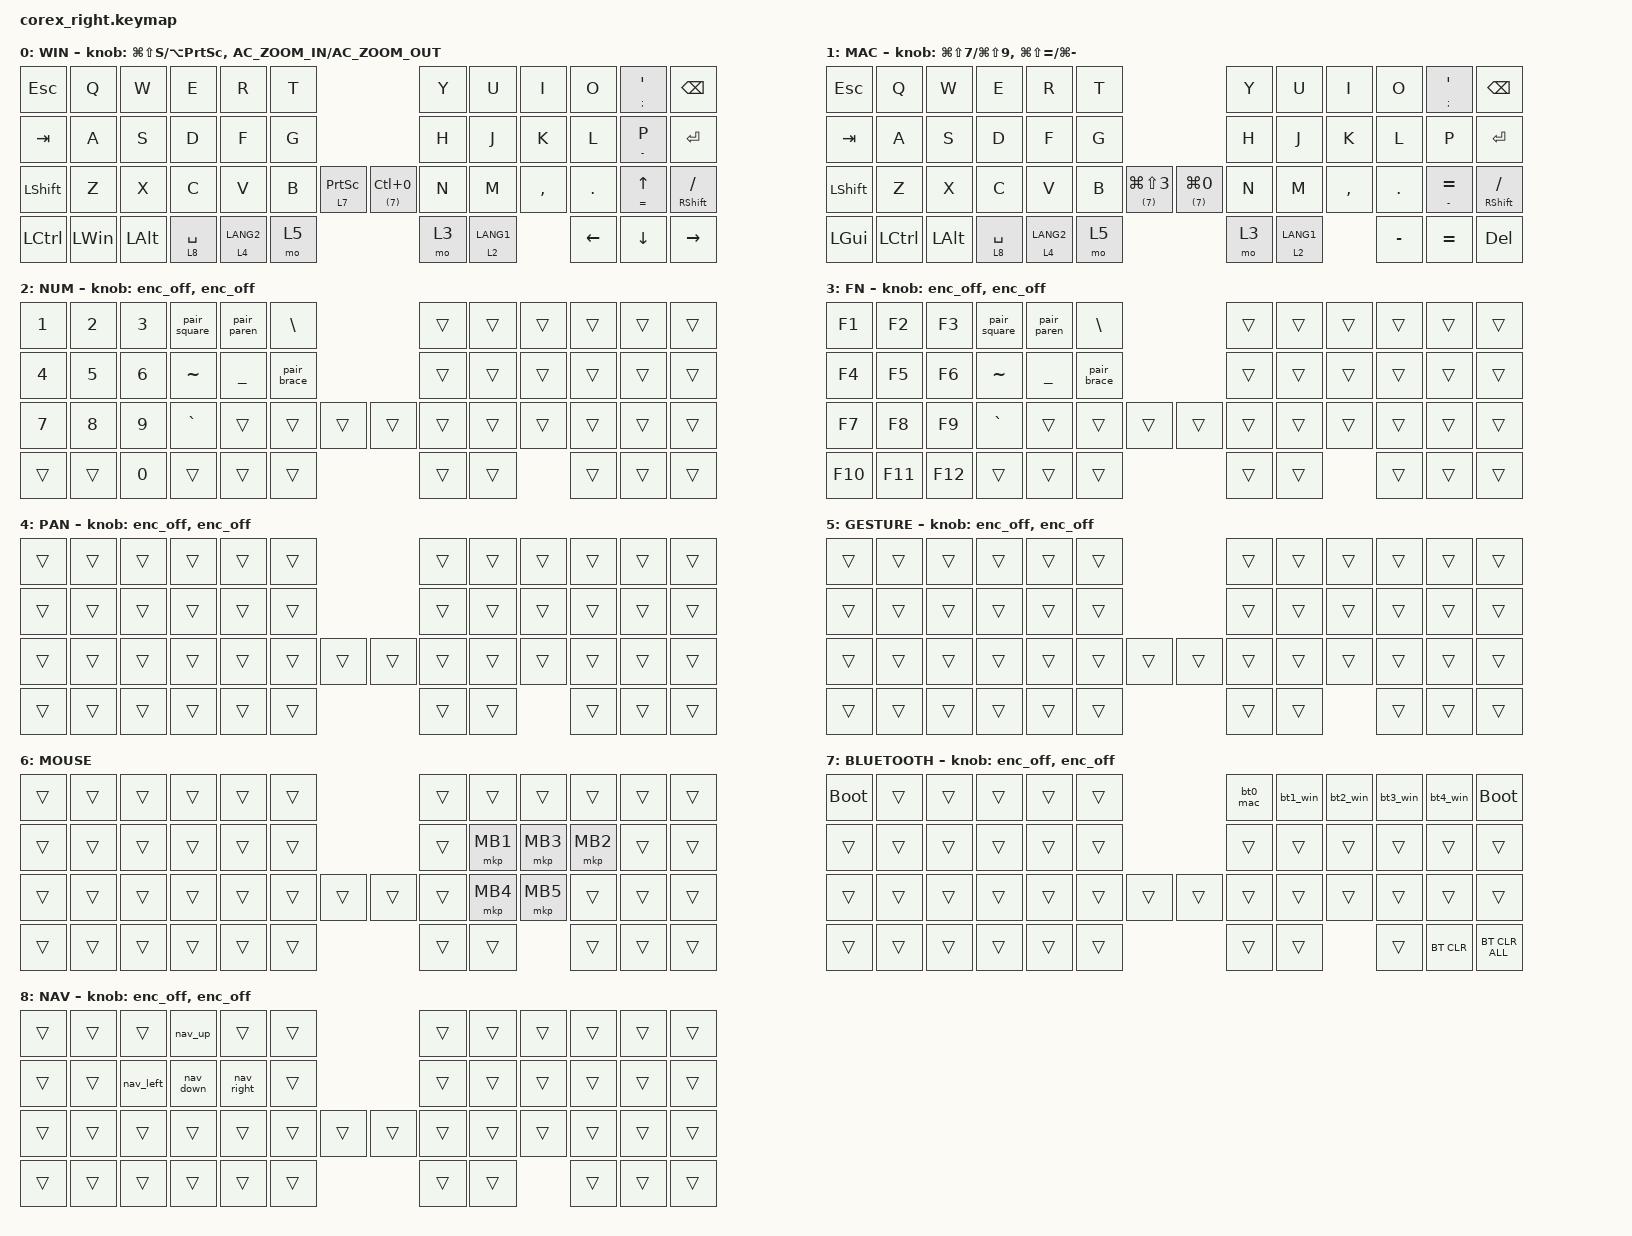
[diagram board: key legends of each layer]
/* CoreX NUM/FN adaptation of Hqzuki/zmk-config-coron, LowprofileTrackBallcase.
 * 49 positions: dedicated arrow keys removed, BT-layer/screenshot on inner
 * switches, three spare bottom-right keys disabled in WIN/MAC.
 * LED and CoreX hardware configuration are independent of this keymap.
 */

#include <dt-bindings/zmk/input_transform.h>
#include <input/processors.dtsi>
#include <mouse-gesture.dtsi>
#include <behaviors.dtsi>
#include <dt-bindings/zmk/bt.h>
#include <dt-bindings/zmk/keys.h>
#include <dt-bindings/zmk/pointing.h>

&zip_temp_layer { excluded-positions = <19 20 21 33 34>; };

&mt {
    flavor = "balanced";
    quick-tap-ms = <0>;
};

&zip_mouse_gesture {
    mac-layer = <1>;
    stroke-size = <100>;
    movement-threshold = <6>;
    gesture-cooldown-ms = <250>;
    enable-eager-mode;

    desktop_left {
        pattern = <GESTURE_LEFT>;
        win-bindings = <&kp LC(LG(LEFT_ARROW))>;
        mac-bindings = <&kp LC(LEFT_ARROW)>;
    };

    desktop_right {
        pattern = <GESTURE_RIGHT>;
        win-bindings = <&kp LC(LG(RIGHT_ARROW))>;
        mac-bindings = <&kp LC(RIGHT_ARROW)>;
    };

    desktop_overview_up {
        pattern = <GESTURE_UP>;
        win-bindings = <&kp LG(TAB)>;
        mac-bindings = <&kp LC(UP_ARROW)>;
    };

    desktop_overview_down {
        pattern = <GESTURE_DOWN>;
        win-bindings = <&kp LG(TAB)>;
        mac-bindings = <&kp LC(DOWN_ARROW)>;
    };
};

&corex_listener {
    status = "okay";
    input-processors =
        <&zip_xy_transform (INPUT_TRANSFORM_X_INVERT | INPUT_TRANSFORM_Y_INVERT)>,
        <&zip_xy_scaler 4 5>,
        <&zip_temp_layer 6 0>;

    pan_scroll {
        layers = <4>;
        input-processors = <
            &zip_xy_transform INPUT_TRANSFORM_X_INVERT
            &zip_axis_lock
            &zip_xy_to_scroll_mapper
            &pan_direction
#if defined(CORON_SCROLL_INERTIA)
            &scroll_inertia
#endif
            &zip_scroll_scaler 1 12
        >;
    };

    desktop_layer_gesture {
        layers = <5>;
        input-processors = <
            &zip_xy_transform (INPUT_TRANSFORM_X_INVERT | INPUT_TRANSFORM_Y_INVERT)
            &zip_mouse_gesture
            &zip_xy_scaler 0 1
        >;
    };
};

/ {
    pan_direction: pan_direction {
        compatible = "custom,input-processor-pan-direction";
        #input-processor-cells = <0>;
        mac-layer = <1>;
    };

    #if defined(CORON_SCROLL_INERTIA)

    /* Inertia emits directly to HID: apply direction transforms before it,
     * and keep scale/scale-div equal to the downstream scroll scaler.
     * Only the right (central) half can emit mouse HID reports.
     */

    scroll_inertia: scroll_inertia {
        compatible = "zmk,input-processor-scroll-inertia";
        #input-processor-cells = <0>;
        axis = <0>;
        layer = <4>;
        scale = <1>;
        scale-div = <12>;

        /* Initial thresholds for the 400 CPI, 125 Hz sensor. */

        start = <16>;
        move = <32>;
        stop = <1>;
        tick = <8>;
        release = <24>;
        span = <5000>;
    };

    #endif

    layer_listeners {
        compatible = "zmk,layer-listeners";

        desktop_gesture_auto_toggle {
            layers = <5>;
            bindings = <&mouse_gesture_on &mouse_gesture_off>;
        };
    };

    macros {
        pair_paren: pair_paren {
            compatible = "zmk,behavior-macro";
            #binding-cells = <0>;
            display-name = "Pair ()";
            wait-ms = <10>;
            tap-ms = <10>;
            bindings = <&macro_tap>, <&kp LS(N9) &kp LS(N0) &kp LEFT>;
        };

        pair_square: pair_square {
            compatible = "zmk,behavior-macro";
            #binding-cells = <0>;
            display-name = "Pair []";
            wait-ms = <10>;
            tap-ms = <10>;
            bindings = <&macro_tap>, <&kp LBKT &kp RBKT &kp LEFT>;
        };

        pair_brace: pair_brace {
            compatible = "zmk,behavior-macro";
            #binding-cells = <0>;
            display-name = "Pair {}";
            wait-ms = <10>;
            tap-ms = <10>;
            bindings = <&macro_tap>, <&kp LS(LBKT) &kp LS(RBKT) &kp LEFT>;
        };

        to_layer_0: to_layer_0 {
            compatible = "zmk,behavior-macro-one-param";
            #binding-cells = <1>;
            bindings = <&to 0 &macro_param_1to1 &kp MACRO_PLACEHOLDER>;
            label = "TO_LAYER_0";
        };

        /* Keep legacy macro node names so existing Studio bindings resolve.
         * All five now select only a Bluetooth slot; OS is always automatic. */

        bt0_mac: bt0_mac {
            compatible = "zmk,behavior-macro";
            #binding-cells = <0>;
            bindings = <&bt BT_SEL 0>;
            display-name = "BT 0";
            label = "BT0_MAC";
        };

        bt1_win: bt1_win {
            compatible = "zmk,behavior-macro";
            #binding-cells = <0>;
            bindings = <&bt BT_SEL 1>;
            display-name = "BT 1";
            label = "BT1_WIN";
        };

        bt2_win: bt2_win {
            compatible = "zmk,behavior-macro";
            #binding-cells = <0>;
            bindings = <&bt BT_SEL 2>;
            display-name = "BT 2";
            label = "BT2_WIN";
        };

        bt3_win: bt3_win {
            compatible = "zmk,behavior-macro";
            #binding-cells = <0>;
            bindings = <&bt BT_SEL 3>;
            display-name = "BT 3";
            label = "BT3_WIN";
        };

        bt4_win: bt4_win {
            compatible = "zmk,behavior-macro";
            #binding-cells = <0>;
            bindings = <&bt BT_SEL 4>;
            display-name = "BT 4";
            label = "BT4_WIN";
        };
    };

    behaviors {
        window_up: window_up {
            compatible = "custom,behavior-os-key";
            #binding-cells = <0>;
            mac-layer = <1>;
            win-keycode = <LG(LS(LEFT))>;
            mac-keycode = <LG(UP)>;
        };

        window_left: window_left {
            compatible = "custom,behavior-os-key";
            #binding-cells = <0>;
            mac-layer = <1>;
            win-keycode = <LG(LEFT)>;
            mac-keycode = <LG(LEFT)>;
        };

        window_down: window_down {
            compatible = "custom,behavior-os-key";
            #binding-cells = <0>;
            mac-layer = <1>;
            win-keycode = <LG(LS(RIGHT))>;
            mac-keycode = <LG(DOWN)>;
        };

        window_right: window_right {
            compatible = "custom,behavior-os-key";
            #binding-cells = <0>;
            mac-layer = <1>;
            win-keycode = <LG(RIGHT)>;
            mac-keycode = <LG(RIGHT)>;
        };

        /* NAV: single tap = arrow, double tap = OS-specific Window action. */

        nav_up: nav_up {
            compatible = "zmk,behavior-tap-dance";
            #binding-cells = <0>;
            tapping-term-ms = <200>;
            bindings = <&kp UP>, <&window_up>;
        };

        nav_left: nav_left {
            compatible = "zmk,behavior-tap-dance";
            #binding-cells = <0>;
            tapping-term-ms = <200>;
            bindings = <&kp LEFT>, <&window_left>;
        };

        nav_down: nav_down {
            compatible = "zmk,behavior-tap-dance";
            #binding-cells = <0>;
            tapping-term-ms = <200>;
            bindings = <&kp DOWN>, <&window_down>;
        };

        nav_right: nav_right {
            compatible = "zmk,behavior-tap-dance";
            #binding-cells = <0>;
            tapping-term-ms = <200>;
            bindings = <&kp RIGHT>, <&window_right>;
        };

        /* Consumes rotation without output; an omitted binding would fall
         * through to the WIN/MAC base layer.
         */

        enc_off: enc_off {
            compatible = "zmk,behavior-sensor-rotate";
            #sensor-binding-cells = <0>;
            bindings = <&none>, <&none>;
        };

        lt_to_layer_0: lt_to_layer_0 {
            compatible = "zmk,behavior-hold-tap";
            label = "LAYER_TAP_TO_0";
            bindings = <&mo>, <&to_layer_0>;

            #binding-cells = <2>;
            tapping-term-ms = <200>;
        };
    };

    keymap {
        compatible = "zmk,keymap";

        WIN {
            display-name = "WIN";
            bindings = <
&kp ESC         &kp Q         &kp W         &kp E        &kp R        &kp T                               &kp Y  &kp U        &kp I      &kp O           &mt SEMICOLON SQT   &kp BACKSPACE
&kp TAB         &kp A         &kp S         &kp D        &kp F        &kp G                               &kp H  &kp J        &kp K      &kp L           &mt MINUS P         &kp ENTER
&kp LEFT_SHIFT  &kp Z         &kp X         &kp C        &kp V        &kp B  &lt 7 PSCRN  &lt (7) LC(N0)  &kp N  &kp M        &kp COMMA  &kp DOT         &mt EQUAL UP_ARROW  &mt RSHFT SLASH
&kp LCTRL       &kp LEFT_WIN  &kp LEFT_ALT  &lt 8 SPACE  &lt 4 LANG2  &mo 5                               &mo 3  &lt 2 LANG1             &kp LEFT_ARROW  &kp DOWN_ARROW      &kp RIGHT_ARROW
            >;

            sensor-bindings =
                <&inc_dec_kp LG(LS(S)) LA(PSCRN)>,
                <&inc_dec_kp C_AC_ZOOM_IN C_AC_ZOOM_OUT>;
        };

        MAC {
            display-name = "MAC";
            bindings = <
&kp ESC         &kp Q      &kp W         &kp E        &kp R        &kp T                                      &kp Y  &kp U        &kp I      &kp O      &mt SEMICOLON SQT  &kp BACKSPACE
&kp TAB         &kp A      &kp S         &kp D        &kp F        &kp G                                      &kp H  &kp J        &kp K      &kp L      &kp P              &kp ENTER
&kp LEFT_SHIFT  &kp Z      &kp X         &kp C        &kp V        &kp B  &lt (7) LG(LS(N3))  &lt (7) LG(N0)  &kp N  &kp M        &kp COMMA  &kp DOT    &mt MINUS EQUAL    &mt RSHFT SLASH
&kp LEFT_GUI    &kp LCTRL  &kp LEFT_ALT  &lt 8 SPACE  &lt 4 LANG2  &mo 5                                      &mo 3  &lt 2 LANG1             &kp MINUS  &kp EQUAL          &kp DELETE
            >;

            sensor-bindings = <&inc_dec_kp LG(LS(N7)) LG(LS(N9)) &inc_dec_kp LG(LS(EQUAL)) LG(MINUS)>;
        };

        NUM {
            display-name = "NUM";
            bindings = <
&kp N1  &kp N2  &kp N3  &pair_square  &pair_paren     &kp BACKSLASH                  &trans  &trans  &trans  &trans  &trans  &trans
&kp N4  &kp N5  &kp N6  &kp TILDE     &kp UNDERSCORE  &pair_brace                    &trans  &trans  &trans  &trans  &trans  &trans
&kp N7  &kp N8  &kp N9  &kp GRAVE     &trans          &trans         &trans  &trans  &trans  &trans  &trans  &trans  &trans  &trans
&trans  &trans  &kp N0  &trans        &trans          &trans                         &trans  &trans          &trans  &trans  &trans
            >;

            sensor-bindings = <&enc_off &enc_off>;
        };

        FN {
            display-name = "FN";
            bindings = <
&kp F1   &kp F2   &kp F3   &pair_square  &pair_paren     &kp BACKSLASH                  &trans  &trans  &trans  &trans  &trans  &trans
&kp F4   &kp F5   &kp F6   &kp TILDE     &kp UNDERSCORE  &pair_brace                    &trans  &trans  &trans  &trans  &trans  &trans
&kp F7   &kp F8   &kp F9   &kp GRAVE     &trans          &trans         &trans  &trans  &trans  &trans  &trans  &trans  &trans  &trans
&kp F10  &kp F11  &kp F12  &trans        &trans          &trans                         &trans  &trans          &trans  &trans  &trans
            >;

            sensor-bindings = <&enc_off &enc_off>;
        };

        PAN {
            display-name = "PAN";
            bindings = <
&trans  &trans  &trans  &trans  &trans  &trans                  &trans  &trans  &trans  &trans  &trans  &trans
&trans  &trans  &trans  &trans  &trans  &trans                  &trans  &trans  &trans  &trans  &trans  &trans
&trans  &trans  &trans  &trans  &trans  &trans  &trans  &trans  &trans  &trans  &trans  &trans  &trans  &trans
&trans  &trans  &trans  &trans  &trans  &trans                  &trans  &trans          &trans  &trans  &trans
            >;

            sensor-bindings = <&enc_off &enc_off>;
        };

        GESTURE {
            display-name = "GESTURE";
            bindings = <
&trans  &trans  &trans  &trans  &trans  &trans                  &trans  &trans  &trans  &trans  &trans  &trans
&trans  &trans  &trans  &trans  &trans  &trans                  &trans  &trans  &trans  &trans  &trans  &trans
&trans  &trans  &trans  &trans  &trans  &trans  &trans  &trans  &trans  &trans  &trans  &trans  &trans  &trans
&trans  &trans  &trans  &trans  &trans  &trans                  &trans  &trans          &trans  &trans  &trans
            >;

            sensor-bindings = <&enc_off &enc_off>;
        };

        MOUSE {
            display-name = "MOUSE";
            bindings = <
&trans  &trans  &trans  &trans  &trans  &trans                  &trans  &trans    &trans    &trans    &trans  &trans
&trans  &trans  &trans  &trans  &trans  &trans                  &trans  &mkp MB1  &mkp MB3  &mkp MB2  &trans  &trans
&trans  &trans  &trans  &trans  &trans  &trans  &trans  &trans  &trans  &mkp MB4  &mkp MB5  &trans    &trans  &trans
&trans  &trans  &trans  &trans  &trans  &trans                  &trans  &trans              &trans    &trans  &trans
            >;

            /* No sensor-bindings: knobs fall through to the WIN/MAC base layer. */
        };

        BLUETOOTH {
            display-name = "BLUETOOTH";
            bindings = <
&bootloader  &trans  &trans  &trans  &trans  &trans                  &bt0_mac  &bt1_win  &bt2_win  &bt3_win  &bt4_win    &bootloader
&trans       &trans  &trans  &trans  &trans  &trans                  &trans    &trans    &trans    &trans    &trans      &trans
&trans       &trans  &trans  &trans  &trans  &trans  &trans  &trans  &trans    &trans    &trans    &trans    &trans      &trans
&trans       &trans  &trans  &trans  &trans  &trans                  &trans    &trans              &trans    &bt BT_CLR  &bt BT_CLR_ALL
            >;

            sensor-bindings = <&enc_off &enc_off>;
        };

        NAV {
            display-name = "NAV";
            bindings = <
&trans  &trans  &trans     &nav_up    &trans      &trans                  &trans  &trans  &trans  &trans  &trans  &trans
&trans  &trans  &nav_left  &nav_down  &nav_right  &trans                  &trans  &trans  &trans  &trans  &trans  &trans
&trans  &trans  &trans     &trans     &trans      &trans  &trans  &trans  &trans  &trans  &trans  &trans  &trans  &trans
&trans  &trans  &trans     &trans     &trans      &trans                  &trans  &trans          &trans  &trans  &trans
            >;

            sensor-bindings = <&enc_off &enc_off>;
        };
    };
};
